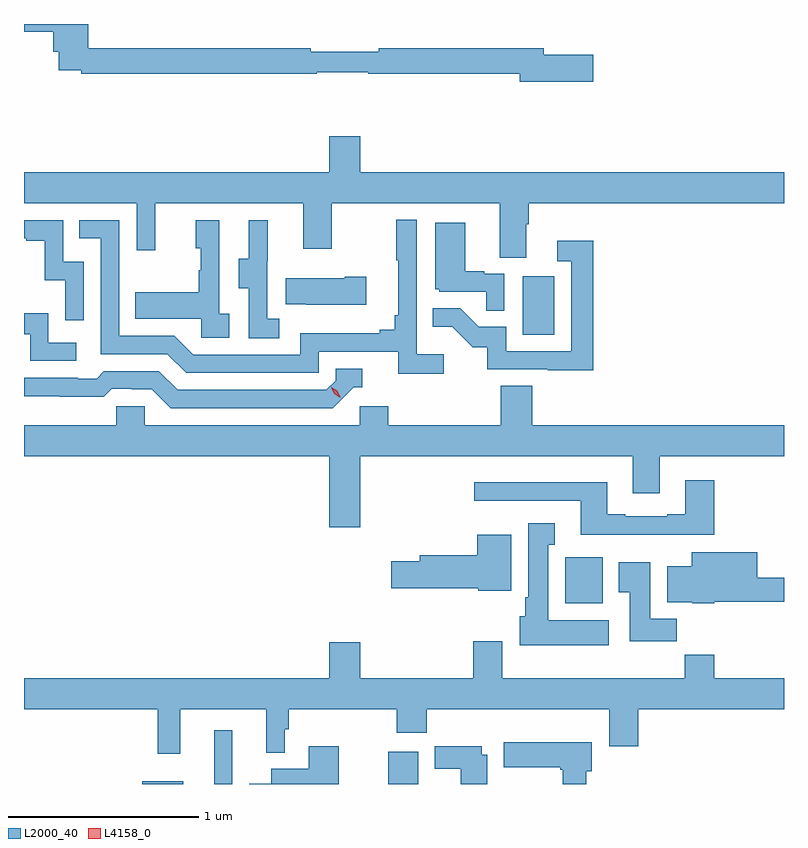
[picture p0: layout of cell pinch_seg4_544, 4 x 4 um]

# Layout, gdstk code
import gdstk
lib = gdstk.Library(unit=1e-6, precision=1e-09)
def R(c, l, rs):  # rectangles x0, y0, x1, y1
    for r in rs: c.add(gdstk.rectangle(r[:2], r[2:], *l))
def P(c, l, *ps):  # polygons
    for p in ps: c.add(gdstk.Polygon(p, *l))
L2000_40 = (2000, 40)
L4158_0 = (4158, 0)

pinch_seg4_544 = lib.new_cell('pinch_seg4_544')
R(pinch_seg4_544, L2000_40, [(1135.052,776.447,1135.267,776.461), (1135.43,776.447,1135.527,776.731), (1136.348,776.447,1136.506,776.617), (1137.278,777.398,1137.475,777.64), (1137.056,778.812,1137.22,779.119)])
P(pinch_seg4_544, L2000_40, [(1137.427,780.284),(1137.166,780.284),(1137.166,780.32),(1136.296,780.32),(1136.296,780.301),(1135.94,780.301),(1135.94,780.32),(1134.767,780.32),(1134.767,780.447),(1134.43,780.447),(1134.43,780.406),(1134.584,780.406),(1134.584,780.302),(1134.614,780.302),(1134.614,780.204),(1134.73,780.204),(1134.73,780.184),(1135.971,780.184),(1135.971,780.192),(1136.242,780.192),(1136.242,780.184),(1137.038,780.184),(1137.038,780.142),(1137.427,780.142)],
  [(1137.073,779.392),(1137.086,779.392),(1137.086,779.504),(1138.43,779.504),(1138.43,779.668),(1136.2,779.668),(1136.2,779.857),(1136.036,779.857),(1136.036,779.668),(1134.43,779.668),(1134.43,779.504),(1135.023,779.504),(1135.023,779.256),(1135.121,779.256),(1135.121,779.504),(1135.901,779.504),(1135.901,779.265),(1136.049,779.265),(1136.049,779.504),(1136.933,779.504),(1136.933,779.218),(1137.073,779.218)],
  [(1136.638,778.708),(1136.496,778.708),(1136.496,779.416),(1136.388,779.416),(1136.388,779.203),(1136.399,779.203),(1136.399,778.915),(1136.38,778.915),(1136.38,778.838),(1136.303,778.838),(1136.303,778.819),(1135.884,778.819),(1135.884,778.707),(1135.32,778.707),(1135.221,778.806),(1134.93,778.806),(1134.93,779.415),(1134.721,779.415),(1134.721,779.319),(1134.834,779.319),(1134.834,778.71),(1135.184,778.71),(1135.283,778.611),(1135.98,778.611),(1135.98,778.722),(1136.399,778.722),(1136.399,778.606),(1136.638,778.606)],
  [(1134.744,779.196),(1134.636,779.196),(1134.636,779.415),(1134.43,779.415),(1134.43,779.319),(1134.443,779.319),(1134.443,779.307),(1134.539,779.307),(1134.539,779.099),(1134.648,779.099),(1134.648,778.887),(1134.744,778.887)],
  [(1135.774,778.895),(1135.71,778.895),(1135.71,779.199),(1135.712,779.199),(1135.712,779.413),(1135.613,779.413),(1135.613,779.211),(1135.559,779.211),(1135.559,779.056),(1135.614,779.056),(1135.614,778.792),(1135.774,778.792)],
  [(1135.51,778.922),(1135.458,778.922),(1135.458,779.413),(1135.334,779.413),(1135.334,779.268),(1135.36,779.268),(1135.36,779.15),(1135.35,779.15),(1135.35,779.035),(1135.015,779.035),(1135.015,778.895),(1135.362,778.895),(1135.362,778.797),(1135.51,778.797)],
  [(1136.958,779.133),(1136.852,779.133),(1136.852,779.146),(1136.752,779.146),(1136.752,779.401),(1136.594,779.401),(1136.594,779.052),(1136.616,779.052),(1136.616,779.037),(1136.863,779.037),(1136.863,778.939),(1136.958,778.939)],
  [(1137.425,779.305),(1137.237,779.305),(1137.237,779.199),(1137.309,779.199),(1137.309,778.725),(1136.967,778.725),(1136.967,778.854),(1136.823,778.854),(1136.725,778.952),(1136.581,778.952),(1136.581,778.853),(1136.685,778.853),(1136.792,778.746),(1136.869,778.746),(1136.869,778.629),(1137.187,778.629),(1137.187,778.624),(1137.425,778.624)],
  [(1136.23,779.118),(1136.117,779.118),(1136.117,779.11),(1135.807,779.11),(1135.807,778.973),(1135.915,778.973),(1135.915,778.97),(1136.23,778.97)],
  [(1134.706,778.77),(1134.558,778.77),(1134.558,778.924),(1134.43,778.924),(1134.43,778.815),(1134.462,778.815),(1134.462,778.674),(1134.706,778.674)],
  [(1136.166,778.536),(1136.209,778.536),(1136.209,778.632),(1136.07,778.632),(1136.07,778.569),(1136.022,778.521),(1135.239,778.521),(1135.14,778.62),(1134.851,778.62),(1134.812,778.581),(1134.713,778.581),(1134.713,778.584),(1134.43,778.584),(1134.43,778.487),(1134.618,778.487),(1134.618,778.485),(1134.851,778.485),(1134.893,778.527),(1134.996,778.527),(1134.996,778.524),(1135.103,778.524),(1135.202,778.425),(1136.055,778.425)],
  [(1136.2,778.172),(1137.635,778.172),(1137.635,777.978),(1137.775,777.978),(1137.775,778.172),(1138.43,778.172),(1138.43,778.336),(1137.104,778.336),(1137.104,778.544),(1136.939,778.544),(1136.939,778.336),(1136.348,778.336),(1136.348,778.434),(1136.196,778.434),(1136.196,778.336),(1135.065,778.336),(1135.065,778.434),(1134.915,778.434),(1134.915,778.336),(1134.43,778.336),(1134.43,778.172),(1136.036,778.172),(1136.036,777.798),(1136.2,777.798)],
  [(1138.064,778.045),(1137.911,778.045),(1137.911,777.868),(1137.815,777.868),(1137.815,777.855),(1137.595,777.855),(1137.595,777.868),(1137.499,777.868),(1137.499,778.036),(1136.799,778.036),(1136.799,777.939),(1137.359,777.939),(1137.359,777.758),(1138.064,777.758)],
  [(1137.508,777.31),(1137.19,777.31),(1137.19,777.707),(1137.223,777.707),(1137.223,777.82),(1137.083,777.82),(1137.083,777.43),(1137.068,777.43),(1137.068,777.33),(1137.038,777.33),(1137.038,777.176),(1137.508,777.176)],
  [(1136.995,777.76),(1136.816,777.76),(1136.816,777.65),(1136.513,777.65),(1136.513,777.62),(1136.364,777.62),(1136.364,777.478),(1136.82,777.478),(1136.82,777.464),(1136.995,777.464)],
  [(1138.062,777.405),(1138.43,777.405),(1138.43,777.533),(1138.288,777.533),(1138.288,777.667),(1137.944,777.667),(1137.944,777.592),(1137.815,777.592),(1137.815,777.404),(1137.948,777.404),(1137.948,777.398),(1138.062,777.398)],
  [(1137.866,777.316),(1137.727,777.316),(1137.727,777.613),(1137.56,777.613),(1137.56,777.457),(1137.617,777.457),(1137.617,777.198),(1137.866,777.198)],
  [(1135.253,776.84),(1135.706,776.84),(1135.706,776.612),(1135.803,776.612),(1135.803,776.734),(1135.823,776.734),(1135.823,776.84),(1136.393,776.84),(1136.393,776.716),(1136.549,776.716),(1136.549,776.84),(1137.509,776.84),(1137.509,776.646),(1137.662,776.646),(1137.662,776.84),(1138.43,776.84),(1138.43,777.004),(1138.064,777.004),(1138.064,777.128),(1137.907,777.128),(1137.907,777.004),(1136.947,777.004),(1136.947,777.199),(1136.795,777.199),(1136.795,777.004),(1136.2,777.004),(1136.2,777.193),(1136.036,777.193),(1136.036,777.004),(1134.43,777.004),(1134.43,776.84),(1135.135,776.84),(1135.135,776.607),(1135.253,776.607)],
  [(1137.388,776.514),(1137.418,776.514),(1137.418,776.668),(1136.954,776.668),(1136.954,776.534),(1137.253,776.534),(1137.253,776.521),(1137.266,776.521),(1137.266,776.447),(1137.388,776.447)],
  [(1136.086,776.647),(1135.928,776.647),(1135.928,776.527),(1135.73,776.527),(1135.73,776.449),(1135.616,776.449),(1135.616,776.447),(1136.086,776.447)],
  [(1136.869,776.602),(1136.839,776.602),(1136.839,776.646),(1136.591,776.646),(1136.591,776.528),(1136.729,776.528),(1136.729,776.447),(1136.869,776.447)])
P(pinch_seg4_544, L4158_0, [(1136.093,778.483),(1136.063,778.502),(1136.047,778.535),(1136.047,778.535),(1136.047,778.535),(1136.078,778.516),(1136.094,778.484),(1136.094,778.483)])

lib.write_gds('pinch_seg4_544.gds')
